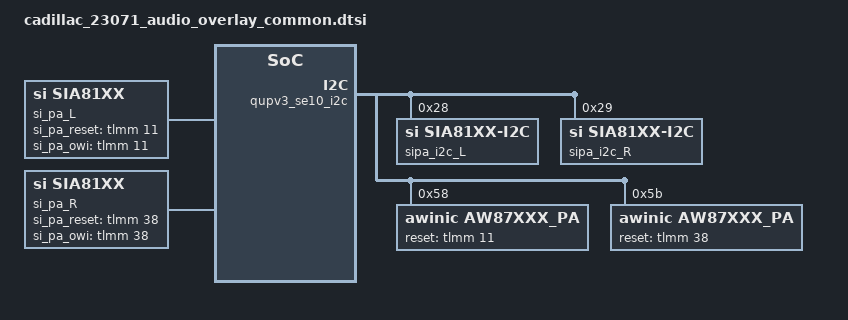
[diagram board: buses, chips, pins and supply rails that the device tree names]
/* #ifdef OPLUS_ARCH_EXTENDS */
&tlmm {
	sia81xx_gpio_L: sia81xx_gpio_L {
		mux {
			pins = "gpio11";
			function = "gpio";
		};

		config {
			pins = "gpio11";
			drive-strength = <6>;
			bias-disable;
		};
	};
	sia81xx_gpio_R: sia81xx_gpio_R {
		mux {
			pins = "gpio38";
			function = "gpio";
		};

		config {
			pins = "gpio38";
			drive-strength = <6>;
			bias-disable;
		};
	};
};

&soc {
	si_pa_L: si_pa_L {
			compatible = "si,sia81xx";
			si,si_pa_type = "sia8159";
			si,si_pa_reset = <&tlmm 11 0x00>;
			si,si_pa_owi = <&tlmm 11 0x00>;
			pinctrl-names = "si_pa_gpio";
			pinctrl-0 = <&sia81xx_gpio_L>;

			si,si_pa_disable_pin = <1>;

			/* the same value share a same task
			 * valid value range : 0 ~ 7 */
			timer_task_hdl = <0>;

			channel_num = <0>;
			owi_mode = <6>;
			status = "okay";
	};

	si_pa_R: si_pa_R {
			compatible = "si,sia81xx";
			si,si_pa_type = "sia8159";
			si,si_pa_reset = <&tlmm 38 0x00>;
			si,si_pa_owi = <&tlmm 38 0x00>;
			pinctrl-names = "sia81xx_gpio";
			pinctrl-0 = <&sia81xx_gpio_R>;

			si,si_pa_disable_pin = <1>;

			/* the same value share a same task
			 * valid value range : 0 ~ 7 */
			timer_task_hdl = <0>;

			channel_num = <1>;
			owi_mode = <6>;
			status = "okay";
	};
};

&holi_snd {
		si,sia81xx-max-num = <2>;
		si,sia81xx-aux-devs = <&si_pa_L>, <&si_pa_R>;
		si,sia81xx-aux-devs-prefix = "SpkrMonoL", "SpkrMonoR";
};

&qupv3_se10_i2c {
	status = "ok";
	qcom,clk-freq-out = <400000>;

	sipa_i2c_L: sipa_i2c_L@28 {
		compatible = "si,sia81xx-i2c";
		reg = <0x28>;
		si,sipa-dev = <&si_pa_L>;
		status = "okay";
	};
	sipa_i2c_R: sipa_i2c_R@29 {
		compatible = "si,sia81xx-i2c";
		reg = <0x29>;
		si,sipa-dev = <&si_pa_R>;
		status = "okay";
	};

	aw87xxx_pa@58 {
		compatible = "awinic,aw87xxx_pa";
		reg = <0x58>;
		reset-gpio = <&tlmm 11 0>;
		dev_index = < 0 >;
		aw-rx-topo-id = <0x1000ff00>;
		aw-rx-port-id = <0xB030>;
		status = "okay";
	};

	aw87xxx_pa@5b {
		compatible = "awinic,aw87xxx_pa";
		reg = <0x5b>;
		reset-gpio = <&tlmm 38 0>;
		dev_index = < 1 >;
		aw-rx-topo-id = <0x1000ff00>;
		aw-rx-port-id = <0xB030>;
		status = "okay";
	};
};

&wcd937x_reset_active {
	config {
		drive-strength = <4>; /* 4 mA */
	};
};
/* OPLUS_ARCH_EXTENDS */
